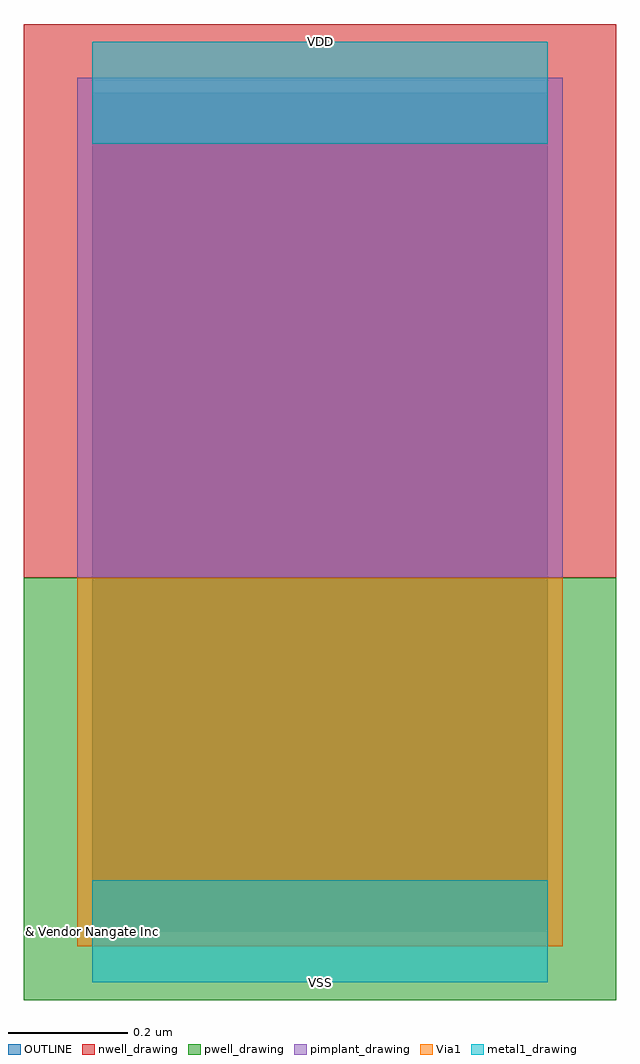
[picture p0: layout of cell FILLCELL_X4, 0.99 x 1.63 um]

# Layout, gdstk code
import gdstk
lib = gdstk.Library(unit=1e-6, precision=1e-10)
def R(c, l, rs):  # rectangles x0, y0, x1, y1
    for r in rs: c.add(gdstk.rectangle(r[:2], r[2:], *l))
pwell_drawing = (2, 0)
nwell_drawing = (3, 0)
Via1 = (4, 0)
pimplant_drawing = (5, 0)
metal1_drawing = (11, 0)
OUTLINE = (235, 0)

fillcell_x4 = lib.new_cell('FILLCELL_X4')
R(fillcell_x4, pwell_drawing, [(-0.115,-0.115,0.875,0.59)])
R(fillcell_x4, nwell_drawing, [(-0.115,0.59,0.875,1.515)])
R(fillcell_x4, Via1, [(-0.025,-0.025,0.785,0.59)])
R(fillcell_x4, pimplant_drawing, [(-0.025,0.59,0.785,1.425)])
R(fillcell_x4, metal1_drawing, [(0,-0.085,0.76,0.085), (0,1.315,0.76,1.485)])
R(fillcell_x4, OUTLINE, [(0,0,0.76,1.4)])
fillcell_x4.add(gdstk.Label('VDD', (0.38,1.485), layer=11, texttype=0))
fillcell_x4.add(gdstk.Label('VSS', (0.38,-0.085), layer=11, texttype=0))
fillcell_x4.add(gdstk.Label('& Vendor Nangate Inc', (0,0), layer=63, texttype=63))
fillcell_x4.add(gdstk.Label('& Product Open Cell Library', (0,0), layer=63, texttype=63))
fillcell_x4.add(gdstk.Label('& Version 2010_12', (0,0), layer=63, texttype=63))
fillcell_x4.add(gdstk.Label('& Instance FILLCELL_X4', (0,0), layer=63, texttype=63))

lib.write_gds('FILLCELL_X4.gds')
